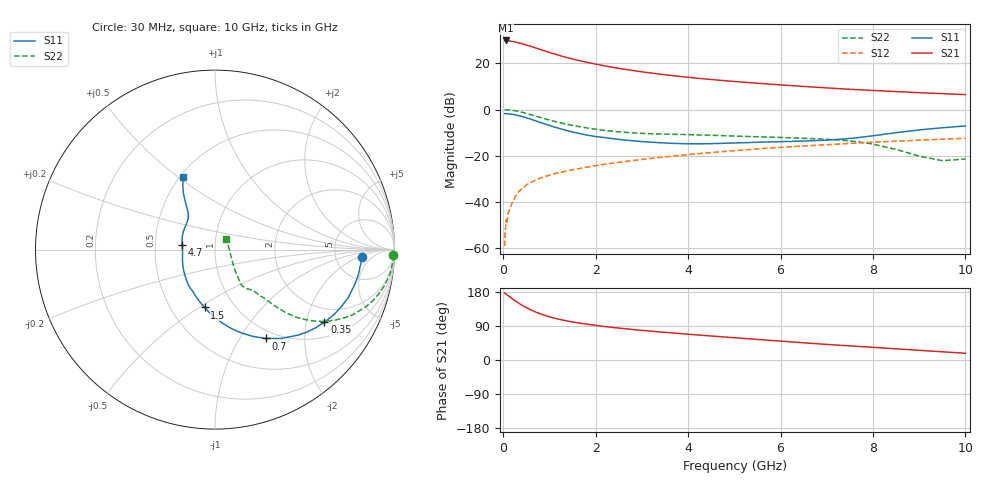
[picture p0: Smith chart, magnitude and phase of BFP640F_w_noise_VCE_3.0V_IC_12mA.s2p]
! Infineon Technologies  Discrete & RF Semiconductors
! BFP640F
! VCE =  3.0 V,  IC =  12 mA
! Common Emitter S-Parameters:  Apr 2013
# GHz  S  MA  R  50
!  f  S11  S21  S12  S22
! GHz  MAG  ANG  MAG  ANG  MAG  ANG  MAG  ANG
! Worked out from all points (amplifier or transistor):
!   99 points, 30 MHz to 10 GHz, reference 50 ohm
!   highest |S21| = 29.9 dB at 50 MHz (marker M1)
!   |S21| within 3 dB of that: start of sweep to 663.5 MHz
!   unconditionally stable (mu >= 1): 2.815 GHz to end of sweep
!   at 350 MHz: K = 0.23, MSG = 32.0 dB, |S12| = -35.2 dB
!   at 3.5 GHz: K = 1.04, MAG = 16.6 dB, |S12| = -20.5 dB
!   at 10 GHz: K = 1.06, MAG = 7.9 dB, |S12| = -12.4 dB
!   lowest NFmin = 0.68 dB at 450 MHz
!   S11 on the Smith chart (normalised r, x): 30 MHz: 9.43, -2.37; 350 MHz: 1.47, -2.56; 700 MHz: 0.89, -1.31; 1.5 GHz: 0.73, -0.53; 4.7 GHz: 0.69, +0.04; 10 GHz: 0.52, +0.52
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0.03  0.8187 -2.9  31 176.9  0.0011 74.8  0.9932 -1.7
0.05  0.8165 -5.1  31.37 175.1  0.0028 78.2  0.994 -3.0
0.13  0.8043 -13.1  30.69 167.5  0.0068 88.5  0.9822 -8.1
0.2  0.7887 -19.9  29.77 161.4  0.0098 83.1  0.962 -12.5
0.25  0.7717 -24.5  29.18 157.0  0.0125 77.7  0.943 -15.4
0.35  0.7315 -33.6  27.65 148.9  0.0173 75.6  0.9001 -20.6
0.4  0.7097 -37.9  26.81 145.2  0.019 75.1  0.8733 -23.0
0.5  0.664 -45.9  25.02 138.4  0.0233 71.8  0.8224 -27.3
0.6  0.6168 -53.4  23.28 132.2  0.0265 69.0  0.771 -30.8
0.7  0.5704 -60.2  21.61 126.7  0.0297 67.3  0.7218 -33.7
0.9  0.4878 -72.3  18.6 117.7  0.0353 64.4  0.6318 -38.0
1.1  0.4209 -82.7  16.09 110.6  0.0406 63.0  0.5585 -40.7
1.3  0.3695 -91.7  14.05 105.1  0.0451 61.9  0.4996 -42.3
1.5  0.3273 -100.1  12.45 100.4  0.0497 61.1  0.4538 -43.3
1.7  0.2951 -108.3  11.16 96.4  0.0541 60.7  0.4171 -43.9
2.4  0.2322 -133.4  8.13 85.5  0.0699 59.1  0.3366 -46.2
3.4  0.1909 -161.5  5.838 73.9  0.0922 56.4  0.2956 -48.8
4.7  0.1847 171.6  4.299 61.6  0.122 51.7  0.2735 -51.5
5.1  0.1903 164.8  3.984 57.9  0.1311 50.0  0.2648 -52.2
6.7  0.2117 140.2  3.076 43.7  0.1667 42.2  0.2341 -53.2
8.5  0.3157 121.7  2.452 29.4  0.2072 33.1  0.137 -41.1
10  0.4416 113.5  2.108 17.8  0.2389 24.9  0.0848 46.0
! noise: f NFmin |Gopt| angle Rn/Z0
0.45  0.68  0.14  8  0.05
0.9  0.68  0.15  19  0.06
1.5  0.69  0.14  28  0.07
1.9  0.7  0.12  43  0.07
2.4  0.73  0.11  55  0.08
3.5  0.82  0.09  90  0.09
5.5  1.01  0.13  -164  0.12
10  1.55  0.4  -95  0.34
